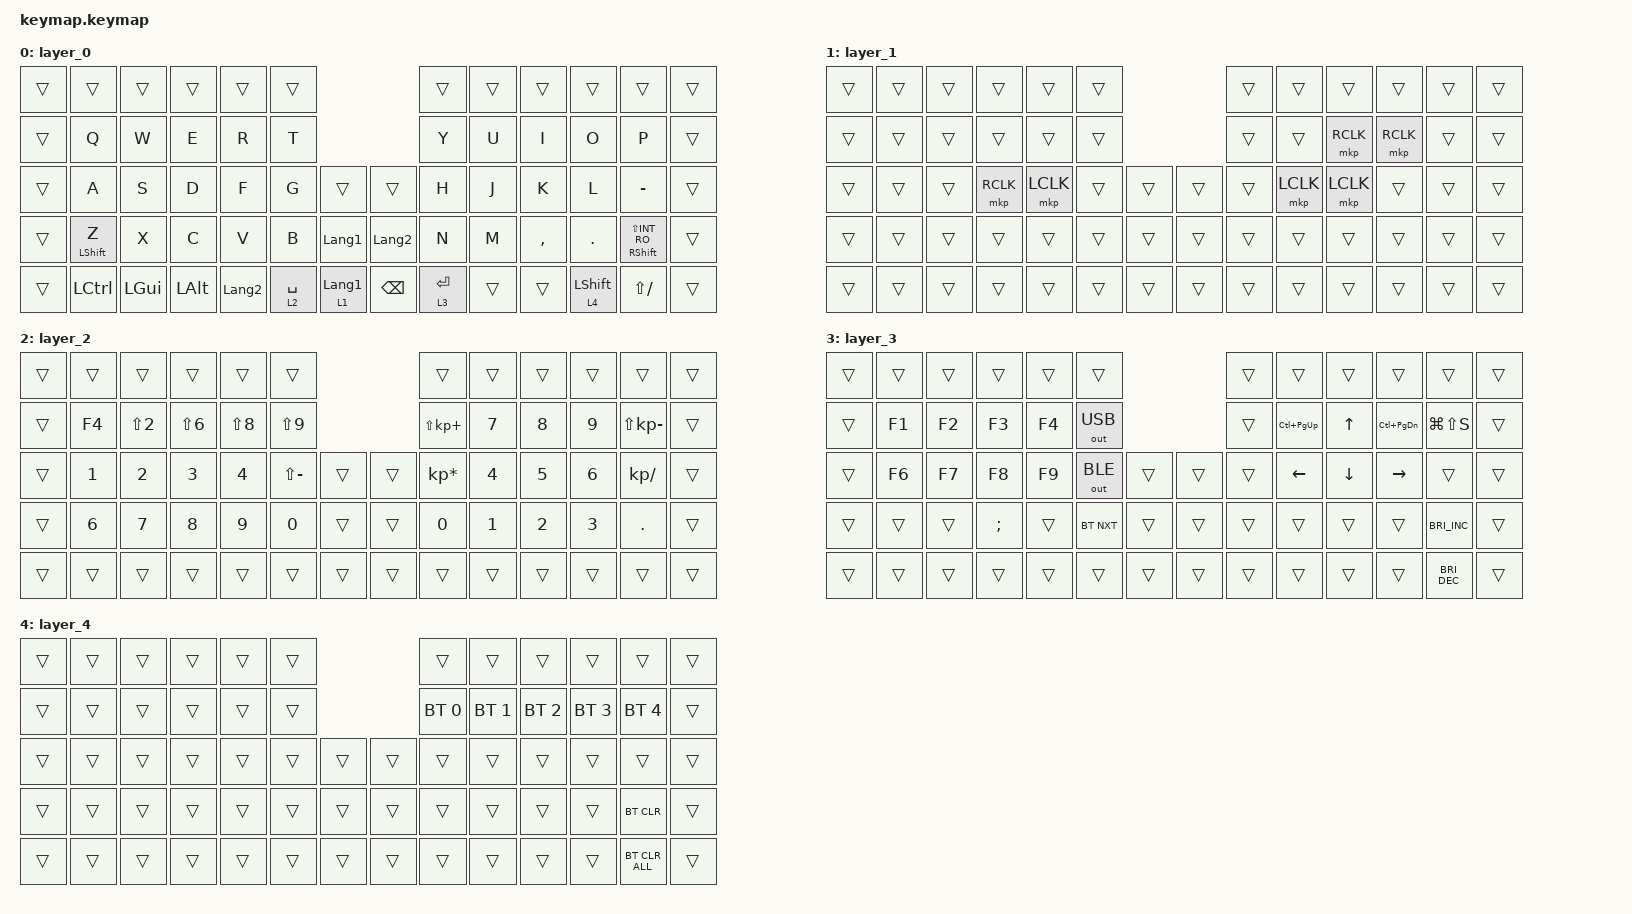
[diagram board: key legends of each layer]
#include <behaviors.dtsi>
#include <dt-bindings/zmk/bt.h>
#include <dt-bindings/zmk/keys.h>
#include <dt-bindings/zmk/outputs.h>
#include <dt-bindings/zmk/pointing.h>

/ {
    combos {
        compatible = "zmk,combos";

        bt_clear {
            bindings = <&bt BT_CLR>;
            key-positions = <28 29>;
            layers = <2>;
        };

        esc {
            bindings = <&kp ESCAPE>;
            key-positions = <13 14>;
        };

        tab {
            bindings = <&kp TAB>;
            key-positions = <26 25>;
        };

        del {
            bindings = <&kp DELETE>;
            key-positions = <21 22>;
        };
    };

    keymap {
        compatible = "zmk,keymap";

        layer_0 {
            bindings = <
&trans  &trans            &trans    &trans    &trans          &trans                                         &trans       &trans  &trans     &trans            &trans                      &trans
&trans  &kp Q             &kp W     &kp E     &kp R           &kp T                                          &kp Y        &kp U   &kp I      &kp O             &kp P                       &trans
&trans  &kp A             &kp S     &kp D     &kp F           &kp G        &trans            &trans          &kp H        &kp J   &kp K      &kp L             &kp MINUS                   &trans
&trans  &mt LEFT_SHIFT Z  &kp X     &kp C     &kp V           &kp B        &kp LANGUAGE_1    &kp LANGUAGE_2  &kp N        &kp M   &kp COMMA  &kp DOT           &mt RIGHT_SHIFT LS(INT_RO)  &trans
&trans  &kp LCTRL         &kp LGUI  &kp LALT  &kp LANGUAGE_2  &lt 2 SPACE  &lt 1 LANGUAGE_1  &kp BACKSPACE   &lt 3 ENTER  &trans  &trans     &lt 4 LEFT_SHIFT  &kp LS(SLASH)               &trans
            >;
        };

        layer_1 {
            bindings = <
&trans  &trans  &trans  &trans     &trans     &trans                  &trans  &trans     &trans     &trans     &trans  &trans
&trans  &trans  &trans  &trans     &trans     &trans                  &trans  &trans     &mkp RCLK  &mkp RCLK  &trans  &trans
&trans  &trans  &trans  &mkp RCLK  &mkp LCLK  &trans  &trans  &trans  &trans  &mkp LCLK  &mkp LCLK  &trans     &trans  &trans
&trans  &trans  &trans  &trans     &trans     &trans  &trans  &trans  &trans  &trans     &trans     &trans     &trans  &trans
&trans  &trans  &trans  &trans     &trans     &trans  &trans  &trans  &trans  &trans     &trans     &trans     &trans  &trans
            >;
        };

        layer_2 {
            bindings = <
&trans  &trans  &trans            &trans      &trans      &trans                         &trans           &trans  &trans  &trans  &trans            &trans
&trans  &kp F4  &kp LS(NUMBER_2)  &kp LS(N6)  &kp LS(N8)  &kp LS(N9)                     &kp LS(KP_PLUS)  &kp N7  &kp N8  &kp N9  &kp LS(KP_MINUS)  &trans
&trans  &kp N1  &kp N2            &kp N3      &kp N4      &kp LS(MINUS)  &trans  &trans  &kp KP_MULTIPLY  &kp N4  &kp N5  &kp N6  &kp KP_SLASH      &trans
&trans  &kp N6  &kp N7            &kp N8      &kp N9      &kp N0         &trans  &trans  &kp N0           &kp N1  &kp N2  &kp N3  &kp DOT           &trans
&trans  &trans  &trans            &trans      &trans      &trans         &trans  &trans  &trans           &trans  &trans  &trans  &trans            &trans
            >;
        };

        layer_3 {
            bindings = <
&trans  &trans  &trans  &trans    &trans  &trans                        &trans  &trans          &trans          &trans             &trans                &trans
&trans  &kp F1  &kp F2  &kp F3    &kp F4  &out OUT_USB                  &trans  &kp LC(PG_UP)   &kp UP_ARROW    &kp LC(PAGE_DOWN)  &kp LG(LS(S))         &trans
&trans  &kp F6  &kp F7  &kp F8    &kp F9  &out OUT_BLE  &trans  &trans  &trans  &kp LEFT_ARROW  &kp DOWN_ARROW  &kp RIGHT          &trans                &trans
&trans  &trans  &trans  &kp SEMI  &trans  &bt BT_NXT    &trans  &trans  &trans  &trans          &trans          &trans             &kp C_BRIGHTNESS_INC  &trans
&trans  &trans  &trans  &trans    &trans  &trans        &trans  &trans  &trans  &trans          &trans          &trans             &kp C_BRI_DEC         &trans
            >;
        };

        layer_4 {
            bindings = <
&trans  &trans  &trans  &trans  &trans  &trans                  &trans        &trans        &trans        &trans        &trans          &trans
&trans  &trans  &trans  &trans  &trans  &trans                  &bt BT_SEL 0  &bt BT_SEL 1  &bt BT_SEL 2  &bt BT_SEL 3  &bt BT_SEL 4    &trans
&trans  &trans  &trans  &trans  &trans  &trans  &trans  &trans  &trans        &trans        &trans        &trans        &trans          &trans
&trans  &trans  &trans  &trans  &trans  &trans  &trans  &trans  &trans        &trans        &trans        &trans        &bt BT_CLR      &trans
&trans  &trans  &trans  &trans  &trans  &trans  &trans  &trans  &trans        &trans        &trans        &trans        &bt BT_CLR_ALL  &trans
            >;
        };
    };
};
